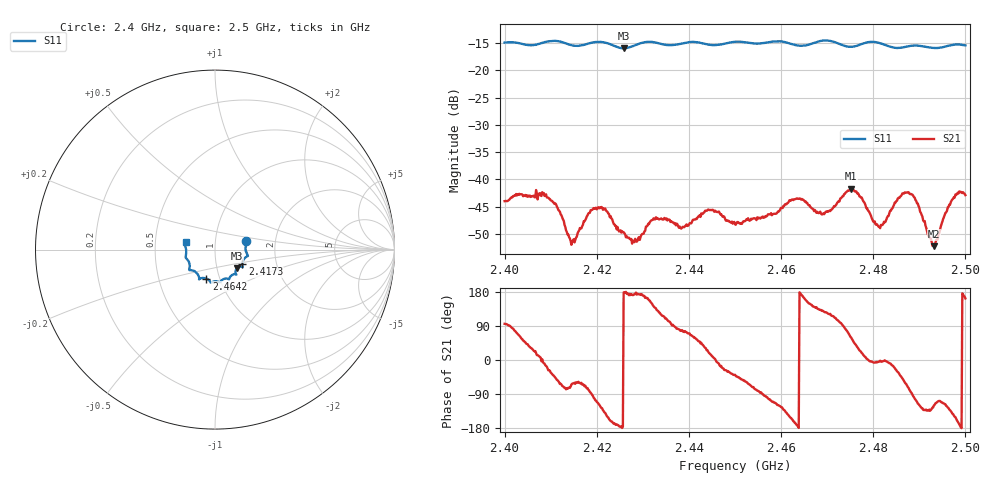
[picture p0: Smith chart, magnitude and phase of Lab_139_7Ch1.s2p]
# Hz S RI R 50
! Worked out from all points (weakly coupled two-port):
!   601 points, 2.4 GHz to 2.5 GHz, reference 50 ohm
!   highest |S21| = -41.70 dB at 2.4752 GHz (marker M1); lowest = -52.3 dB at 2.4932 GHz (marker M2)
!   lowest |S11| = -15.9 dB at 2.4258 GHz (marker M3), VSWR 1.38, Z = 62.3 - j13.2 ohm
!   |S11| at or under -10 dB: start of sweep to end of sweep
!   S12 and S22 are empty: the file has one direction only
!   S11 on the Smith chart (normalised r, x): 2.4 GHz: 1.41, +0.14; 2.4173 GHz: 1.34, -0.23; 2.4642 GHz: 0.86, -0.29; 2.5 GHz: 0.72, +0.06
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2.4e9  0.1734 0.049  -0.000599 0.00627  0 0  0 0
2.408667e9  0.1801 -0.0265  0.00693 -0.00116  0 0  0 0
2.414667e9  0.1619 -0.0516  0.00124 -0.00239  0 0  0 0
2.416667e9  0.1527 -0.074  0.00176 -0.00308  0 0  0 0
2.417333e9  0.1518 -0.0818  0.00145 -0.00385  0 0  0 0
2.421333e9  0.1541 -0.0966  -0.00352 -0.00389  0 0  0 0
2.425833e9  0.1219 -0.1031  -0.00326 9.67e-05  0 0  0 0
2.428167e9  0.1143 -0.125  -0.00263 0.000282  0 0  0 0
2.433333e9  0.1134 -0.137  -0.00273 0.00337  0 0  0 0
2.438667e9  0.0807 -0.1583  0.000941 0.00354  0 0  0 0
2.444667e9  0.0587 -0.1612  0.00505 0.00135  0 0  0 0
2.45e9  0.0287 -0.1813  0.003 -0.00243  0 0  0 0
2.464167e9  -0.0481 -0.1616  -0.00662 0.000422  0 0  0 0
2.466667e9  -0.0764 -0.1589  -0.00444 0.00308  0 0  0 0
2.4705e9  -0.0883 -0.165  -0.00264 0.00443  0 0  0 0
2.475167e9  -0.1078 -0.1248  0.00411 0.00712  0 0  0 0
2.481e9  -0.1433 -0.1092  0.00374 -0.000333  0 0  0 0
2.483333e9  -0.1407 -0.0898  0.00458 -0.000546  0 0  0 0
2.488167e9  -0.1611 -0.0484  0.000661 -0.00731  0 0  0 0
2.493167e9  -0.1604 -0.0119  -0.00121 -0.00211  0 0  0 0
2.497333e9  -0.1697 0.0294  -0.00528 -0.00402  0 0  0 0
2.5e9  -0.1642 0.0428  -0.00682 0.00215  0 0  0 0
